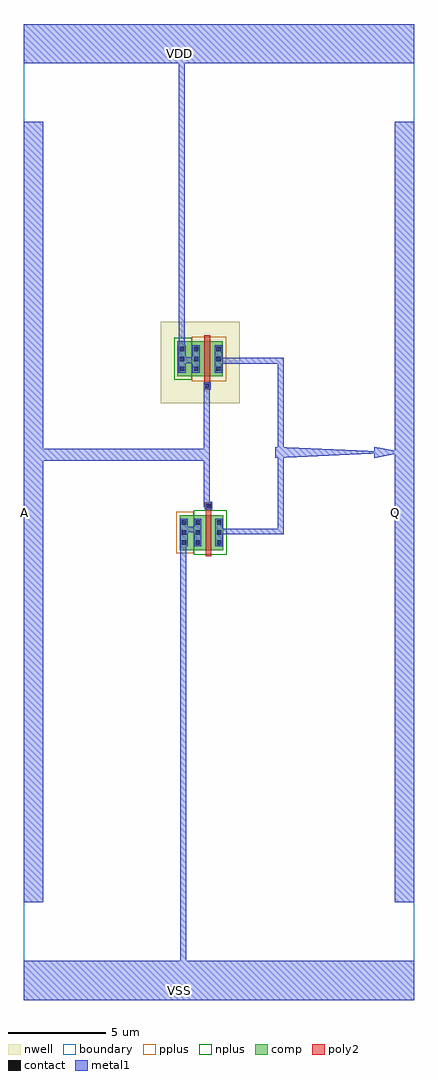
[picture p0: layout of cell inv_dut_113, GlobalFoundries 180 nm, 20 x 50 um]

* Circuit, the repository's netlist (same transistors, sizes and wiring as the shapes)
** sch_path: /home/ishi-kai/work/inverter/inv_dut_113.sch
.subckt inv_dut_113 VDD A Q VSS
*.PININFO A:I Q:O VSS:B VDD:B
M2 Q A VSS VSS nfet_03v3 L=0.30u W=1.80u nf=1
M1 Q A VDD VDD pfet_03v3 L=0.3u W=1.8u nf=1
.ends

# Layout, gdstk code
from math import pi, radians
import gdstk
lib = gdstk.Library(unit=1e-6, precision=1e-09)
def R(c, l, rs):  # rectangles x0, y0, x1, y1
    for r in rs: c.add(gdstk.rectangle(r[:2], r[2:], *l))
def A(c, l, x, y, w, h, nx, ny, dx, dy):  # array of equal rectangles
    R(c, l, [(x+i*dx, y+j*dy, x+i*dx+w, y+j*dy+h) for i in range(nx) for j in range(ny)])
def P(c, l, *ps):  # polygons
    for p in ps: c.add(gdstk.Polygon(p, *l))
boundary = (0, 0)
nwell = (21, 0)
comp = (22, 0)
poly2 = (30, 0)
pplus = (31, 0)
nplus = (32, 0)
contact = (33, 0)
metal1 = (34, 0)

nfet = lib.new_cell('nfet')
R(nfet, comp, [(-0.42,0,1.81,1.8)])
P(nfet, poly2, [(0.19,-0.3),(0.19,2.1),(0.16,2.1),(0.16,2.46),(0.52,2.46),(0.52,2.1),(0.49,2.1),(0.49,-0.3)])
R(nfet, pplus, [(1.1,-0.17,1.98,1.97)])
R(nfet, nplus, [(-0.59,-0.24,1.1,2.04)])
A(nfet, contact, -0.32, 0.28, 0.22, 0.22, 1, 3, 0, 0.51)
A(nfet, contact, 0.78, 0.28, 0.22, 0.22, 1, 3, 0, 0.51)
A(nfet, contact, 1.49, 0.28, 0.22, 0.22, 1, 3, 0, 0.51)
R(nfet, contact, [(0.23,2.17,0.45,2.39)])
R(nfet, metal1, [(-0.4,0.2,-0.02,1.6), (0.7,0.2,1.08,1.6), (1.41,0.2,1.79,1.6), (0.15,2.09,0.53,2.47)])

pfet = lib.new_cell('pfet')
R(pfet, nwell, [(-1.32,-0.99,2.73,3.17)])
R(pfet, comp, [(-0.46,0,1.87,1.8)])
P(pfet, poly2, [(0.19,-0.3),(0.19,2.1),(0.15,2.1),(0.15,2.48),(0.53,2.48),(0.53,2.1),(0.49,2.1),(0.49,-0.3)])
R(pfet, pplus, [(-0.63,-0.24,1.14,2.04)])
R(pfet, nplus, [(1.14,-0.17,2.04,1.97)])
A(pfet, contact, -0.34, 0.28, 0.22, 0.22, 1, 3, 0, 0.51)
A(pfet, contact, 0.8, 0.28, 0.22, 0.22, 1, 3, 0, 0.51)
A(pfet, contact, 1.53, 0.28, 0.22, 0.22, 1, 3, 0, 0.51)
R(pfet, contact, [(0.23,2.18,0.45,2.4)])
R(pfet, metal1, [(-0.42,0.2,-0.04,1.6), (0.72,0.2,1.1,1.6), (1.45,0.2,1.83,1.6), (0.15,2.1,0.53,2.48)])

inv_dut_113 = lib.new_cell('inv_dut_113')
R(inv_dut_113, boundary, [(-10,-25,10,25)])
R(inv_dut_113, metal1, [(-10,-25,10,-23), (-10,-20,-9,20), (9,-20,10,20), (-10,23,10,25)])
inv_dut_113.add(gdstk.FlexPath([(-0.625,6.51),(-0.625,0.245)], 0.3, ends="flush", simple_path=True, layer=34, datatype=0))  # metal1
inv_dut_113.add(gdstk.FlexPath([(-0.605,2.935),(-9.315,2.935)], 0.6, ends="flush", simple_path=True, layer=34, datatype=0))  # metal1
inv_dut_113.add(gdstk.FlexPath([(-0.065,7.74),(3.165,7.74),(3.165,-1),(-0.065,-1)], 0.3, ends="flush", simple_path=True, layer=34, datatype=0))  # metal1
inv_dut_113.add(gdstk.FlexPath([(-1.825,-1.52),(-1.825,-24.16)], 0.3, ends="flush", simple_path=True, layer=34, datatype=0))  # metal1
inv_dut_113.add(gdstk.FlexPath([(-1.905,8.185),(-1.905,23.83),(-1.885,24.295)], 0.3, ends="flush", simple_path=True, layer=34, datatype=0))  # metal1
inv_dut_113.add(gdstk.FlexPath([(-1.82,-0.9),(-1,-0.9)], 0.3, ends="flush", simple_path=True, layer=34, datatype=0))  # metal1
inv_dut_113.add(gdstk.FlexPath([(2.87,3.05),(9.43,3.05),(7.945,3.05)], 0.6, ends="flush", simple_path=True, layer=34, datatype=0))  # metal1
inv_dut_113.add(gdstk.FlexPath([(-1.92,7.775),(-1.1,7.775)], 0.3, ends="flush", simple_path=True, layer=34, datatype=0))  # metal1
inv_dut_113.add(gdstk.Reference(nfet, (-0.2,-1.955), rotation=pi, x_reflection=True))
inv_dut_113.add(gdstk.Reference(pfet, (-0.26,8.745), rotation=pi))
inv_dut_113.add(gdstk.Label('VDD', (-2,23.5), layer=34, texttype=10))
inv_dut_113.add(gdstk.Label('VSS', (-2,-24.5), layer=34, texttype=10))
inv_dut_113.add(gdstk.Label('A', (-9.97,0), layer=34, texttype=10))
inv_dut_113.add(gdstk.Label('Q', (9.03,0), layer=34, texttype=10))

lib.write_gds('inv_dut_113.gds')
